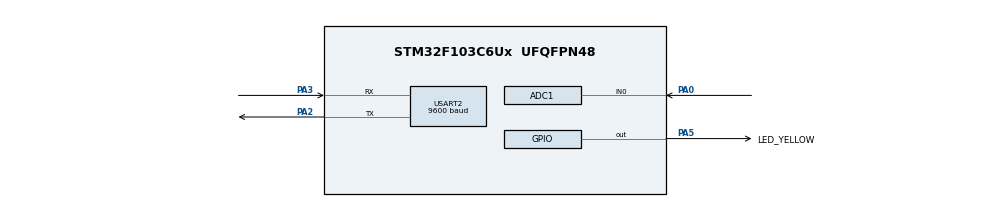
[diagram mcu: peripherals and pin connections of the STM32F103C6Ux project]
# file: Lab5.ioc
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ADC1.Channel-0\#ChannelRegularConversion=ADC_CHANNEL_0
ADC1.ContinuousConvMode=ENABLE
ADC1.NbrOfConversionFlag=1
ADC1.Rank-0\#ChannelRegularConversion=1
ADC1.SamplingTime-0\#ChannelRegularConversion=ADC_SAMPLETIME_1CYCLE_5
ADC1.master=1
Mcu.Family=STM32F1
Mcu.Name=STM32F103C6Ux
Mcu.Package=UFQFPN48
NVIC.PriorityGroup=NVIC_PRIORITYGROUP_4
NVIC.TIM2_IRQn=true\:0\:0\:false\:false\:true\:true\:true
NVIC.USART2_IRQn=true\:0\:0\:false\:false\:true\:true\:true
PA0-WKUP.Signal=ADCx_IN0
PA2.Mode=Asynchronous
PA2.Signal=USART2_TX
PA3.Mode=Asynchronous
PA3.Signal=USART2_RX
PA5.GPIO_Label=LED_YELLOW
PA5.Signal=GPIO_Output
ProjectManager.HeapSize=0x200
ProjectManager.StackSize=0x400
ProjectManager.TargetToolchain=STM32CubeIDE
RCC.APB1Freq_Value=8000000
RCC.APB2Freq_Value=8000000
SH.ADCx_IN0.0=ADC1_IN0,IN0
TIM2.Period=9
TIM2.Prescaler=7999
USART2.BaudRate=9600
USART2.VirtualMode=VM_ASYNC
VP_SYS_VS_ND.Mode=No_Debug
VP_TIM2_VS_ClockSourceINT.Mode=Internal
board=custom

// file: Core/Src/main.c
/* USER CODE BEGIN Header */
/**
  ******************************************************************************
  * @file           : main.c
  * @brief          : Main program body
  ******************************************************************************
  * @attention
  *
  * <h2><center>&copy; Copyright (c) 2024 STMicroelectronics.
  * All rights reserved.</center></h2>
  *
  * This software component is licensed by ST under BSD 3-Clause license,
  * the "License"; You may not use this file except in compliance with the
  * License. You may obtain a copy of the License at:
  *                        opensource.org/licenses/BSD-3-Clause
  *
  ******************************************************************************
  */
/* USER CODE END Header */
#include "main.h"
/* USER CODE BEGIN Includes */
#include "fsm.h"
#include "software_timer.h"
/* USER CODE END Includes */

ADC_HandleTypeDef hadc1;

TIM_HandleTypeDef htim2;

UART_HandleTypeDef huart2;

void SystemClock_Config(void);
static void MX_GPIO_Init(void);
static void MX_ADC1_Init(void);
static void MX_TIM2_Init(void);
static void MX_USART2_UART_Init(void);

/* USER CODE BEGIN 0 */
// Automatically called when the receiving data process through UART completed
void HAL_UART_RxCpltCallback(UART_HandleTypeDef *huart)
{
	if(huart -> Instance == USART2)
	{
		// Retransmit the received character through UART
		HAL_UART_Transmit(&huart2, &buffer_character, 1, 500);
		buffer[buffer_index] = buffer_character;
		buffer_index++;

		if(buffer_index == MAX_BUFFER_SIZE) buffer_index = 0;
		buffer_flag = 1;
		// Allow UART receive next character without waiting for callback function finish
		HAL_UART_Receive_IT(&huart2, &buffer_character, 1);
	}
}
/* USER CODE END 0 */

int main(void)
{

  /* MCU Configuration--------------------------------------------------------*/

  /* Reset of all peripherals, Initializes the Flash interface and the Systick. */
  HAL_Init();

  /* Configure the system clock */
  SystemClock_Config();

  /* Initialize all configured peripherals */
  MX_GPIO_Init();
  MX_ADC1_Init();
  MX_TIM2_Init();
  MX_USART2_UART_Init();
  /* USER CODE BEGIN 2 */
  HAL_ADC_Start(&hadc1);
  HAL_TIM_Base_Start_IT(&htim2);
  HAL_UART_Receive_IT(&huart2, &buffer_character, 1);
  setTimer1(1);
  setTimer2(1);
  HAL_GPIO_WritePin(LED_YELLOW_GPIO_Port, LED_YELLOW_Pin, SET);
  /* USER CODE END 2 */

  /* Infinite loop */
  /* USER CODE BEGIN WHILE */
  while (1)
  {
	  if(timer1_flag == 1)
	  {
		  HAL_GPIO_TogglePin(LED_YELLOW_GPIO_Port, LED_YELLOW_Pin);
		  setTimer1(100);
	  }

	  if(buffer_flag == 1)
	  {
		  command_parser();
		  buffer_flag = 0;
	  }
	  uart_communication();
    /* USER CODE END WHILE */

  }
}

void SystemClock_Config(void)
{
  RCC_OscInitTypeDef RCC_OscInitStruct = {0};
  RCC_ClkInitTypeDef RCC_ClkInitStruct = {0};
  RCC_PeriphCLKInitTypeDef PeriphClkInit = {0};

  /** Initializes the RCC Oscillators according to the specified parameters
  * in the RCC_OscInitTypeDef structure.
  */
  RCC_OscInitStruct.OscillatorType = RCC_OSCILLATORTYPE_HSI;
  RCC_OscInitStruct.HSIState = RCC_HSI_ON;
  RCC_OscInitStruct.HSICalibrationValue = RCC_HSICALIBRATION_DEFAULT;
  RCC_OscInitStruct.PLL.PLLState = RCC_PLL_NONE;
  if (HAL_RCC_OscConfig(&RCC_OscInitStruct) != HAL_OK)
  {
    Error_Handler();
  }
  /** Initializes the CPU, AHB and APB buses clocks
  */
  RCC_ClkInitStruct.ClockType = RCC_CLOCKTYPE_HCLK|RCC_CLOCKTYPE_SYSCLK
                              |RCC_CLOCKTYPE_PCLK1|RCC_CLOCKTYPE_PCLK2;
  RCC_ClkInitStruct.SYSCLKSource = RCC_SYSCLKSOURCE_HSI;
  RCC_ClkInitStruct.AHBCLKDivider = RCC_SYSCLK_DIV1;
  RCC_ClkInitStruct.APB1CLKDivider = RCC_HCLK_DIV1;
  RCC_ClkInitStruct.APB2CLKDivider = RCC_HCLK_DIV1;

  if (HAL_RCC_ClockConfig(&RCC_ClkInitStruct, FLASH_LATENCY_0) != HAL_OK)
  {
    Error_Handler();
  }
  PeriphClkInit.PeriphClockSelection = RCC_PERIPHCLK_ADC;
  PeriphClkInit.AdcClockSelection = RCC_ADCPCLK2_DIV2;
  if (HAL_RCCEx_PeriphCLKConfig(&PeriphClkInit) != HAL_OK)
  {
    Error_Handler();
  }
}

static void MX_ADC1_Init(void)
{

  ADC_ChannelConfTypeDef sConfig = {0};

  /** Common config
  */
  hadc1.Instance = ADC1;
  hadc1.Init.ScanConvMode = ADC_SCAN_DISABLE;
  hadc1.Init.ContinuousConvMode = ENABLE;
  hadc1.Init.DiscontinuousConvMode = DISABLE;
  hadc1.Init.ExternalTrigConv = ADC_SOFTWARE_START;
  hadc1.Init.DataAlign = ADC_DATAALIGN_RIGHT;
  hadc1.Init.NbrOfConversion = 1;
  if (HAL_ADC_Init(&hadc1) != HAL_OK)
  {
    Error_Handler();
  }
  /** Configure Regular Channel
  */
  sConfig.Channel = ADC_CHANNEL_0;
  sConfig.Rank = ADC_REGULAR_RANK_1;
  sConfig.SamplingTime = ADC_SAMPLETIME_1CYCLE_5;
  if (HAL_ADC_ConfigChannel(&hadc1, &sConfig) != HAL_OK)
  {
    Error_Handler();
  }

}

static void MX_TIM2_Init(void)
{

  TIM_ClockConfigTypeDef sClockSourceConfig = {0};
  TIM_MasterConfigTypeDef sMasterConfig = {0};

  htim2.Instance = TIM2;
  htim2.Init.Prescaler = 7999;
  htim2.Init.CounterMode = TIM_COUNTERMODE_UP;
  htim2.Init.Period = 9;
  htim2.Init.ClockDivision = TIM_CLOCKDIVISION_DIV1;
  htim2.Init.AutoReloadPreload = TIM_AUTORELOAD_PRELOAD_DISABLE;
  if (HAL_TIM_Base_Init(&htim2) != HAL_OK)
  {
    Error_Handler();
  }
  sClockSourceConfig.ClockSource = TIM_CLOCKSOURCE_INTERNAL;
  if (HAL_TIM_ConfigClockSource(&htim2, &sClockSourceConfig) != HAL_OK)
  {
    Error_Handler();
  }
  sMasterConfig.MasterOutputTrigger = TIM_TRGO_RESET;
  sMasterConfig.MasterSlaveMode = TIM_MASTERSLAVEMODE_DISABLE;
  if (HAL_TIMEx_MasterConfigSynchronization(&htim2, &sMasterConfig) != HAL_OK)
  {
    Error_Handler();
  }

}

static void MX_USART2_UART_Init(void)
{

  huart2.Instance = USART2;
  huart2.Init.BaudRate = 9600;
  huart2.Init.WordLength = UART_WORDLENGTH_8B;
  huart2.Init.StopBits = UART_STOPBITS_1;
  huart2.Init.Parity = UART_PARITY_NONE;
  huart2.Init.Mode = UART_MODE_TX_RX;
  huart2.Init.HwFlowCtl = UART_HWCONTROL_NONE;
  huart2.Init.OverSampling = UART_OVERSAMPLING_16;
  if (HAL_UART_Init(&huart2) != HAL_OK)
  {
    Error_Handler();
  }

}

static void MX_GPIO_Init(void)
{
  GPIO_InitTypeDef GPIO_InitStruct = {0};

  /* GPIO Ports Clock Enable */
  __HAL_RCC_GPIOA_CLK_ENABLE();

  /*Configure GPIO pin Output Level */
  HAL_GPIO_WritePin(LED_YELLOW_GPIO_Port, LED_YELLOW_Pin, GPIO_PIN_RESET);

  /*Configure GPIO pin : LED_YELLOW_Pin */
  GPIO_InitStruct.Pin = LED_YELLOW_Pin;
  GPIO_InitStruct.Mode = GPIO_MODE_OUTPUT_PP;
  GPIO_InitStruct.Pull = GPIO_NOPULL;
  GPIO_InitStruct.Speed = GPIO_SPEED_FREQ_LOW;
  HAL_GPIO_Init(LED_YELLOW_GPIO_Port, &GPIO_InitStruct);

}

/* USER CODE BEGIN 4 */
void HAL_TIM_PeriodElapsedCallback(TIM_HandleTypeDef *htim)
{
	timerRun();
}
/* USER CODE END 4 */

void Error_Handler(void)
{
  __disable_irq();
  while (1)
  {
  }
}

/************************ (C) COPYRIGHT STMicroelectronics *****END OF FILE****/
